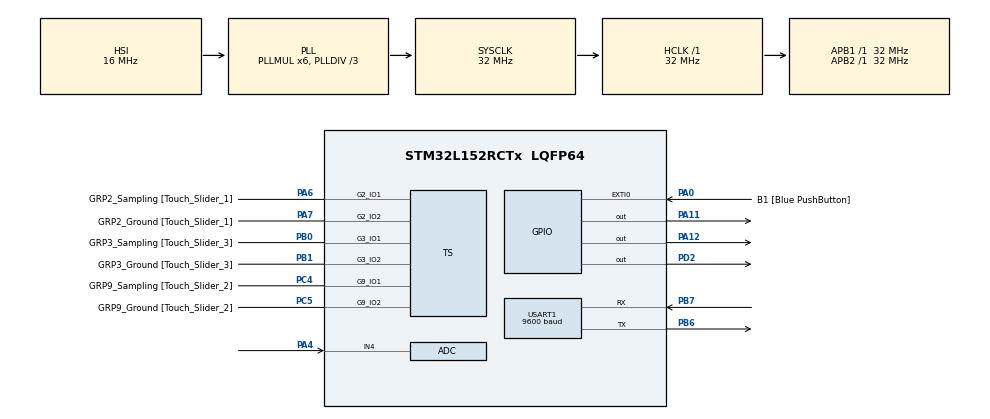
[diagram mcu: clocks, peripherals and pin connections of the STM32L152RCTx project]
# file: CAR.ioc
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ADC.Channel-1\#ChannelRegularConversion=ADC_CHANNEL_4
ADC.NbrOfConversionFlag=1
ADC.Rank-1\#ChannelRegularConversion=1
ADC.SamplingTime-1\#ChannelRegularConversion=ADC_SAMPLETIME_4CYCLES
Mcu.Family=STM32L1
Mcu.Name=STM32L152RCTx
Mcu.Package=LQFP64
NVIC.PriorityGroup=NVIC_PRIORITYGROUP_0
PA0-WKUP1.GPIO_Label=B1 [Blue PushButton]
PA0-WKUP1.GPIO_ModeDefaultEXTI=GPIO_MODE_EVT_RISING
PA0-WKUP1.GPIO_PuPd=GPIO_NOPULL
PA0-WKUP1.Signal=GPXTI0
PA1.Signal=S_TIM2_CH2
PA10.GPIO_Label=COM2 [GH08172T_COM2]
PA10.GPIO_Mode=GPIO_MODE_AF_PP
PA10.GPIO_PuPd=GPIO_NOPULL
PA10.GPIO_Speed=GPIO_SPEED_FREQ_LOW
PA10.Signal=LCD_COM2
PA11.Signal=GPIO_Output
PA12.Signal=GPIO_Output
PA13.GPIO_Label=SWDIO
PA13.Mode=Serial_Wire
PA13.Signal=SYS_JTMS-SWDIO
PA14.GPIO_Label=SWCLK
PA14.Mode=Serial_Wire
PA14.Signal=SYS_JTCK-SWCLK
PA15.GPIO_Label=SEG12 [GH08172T_SEG12]
PA15.GPIO_Mode=GPIO_MODE_AF_PP
PA15.GPIO_PuPd=GPIO_NOPULL
PA15.GPIO_Speed=GPIO_SPEED_FREQ_LOW
PA15.Signal=LCD_SEG17
PA2.GPIO_Label=SEG1 [GH08172T_SEG1]
PA2.GPIO_Mode=GPIO_MODE_AF_PP
PA2.GPIO_PuPd=GPIO_NOPULL
PA2.GPIO_Speed=GPIO_SPEED_FREQ_LOW
PA2.Signal=LCD_SEG1
PA3.GPIO_Label=SEG2 [GH08172T_SEG2]
PA3.GPIO_Mode=GPIO_MODE_AF_PP
PA3.GPIO_PuPd=GPIO_NOPULL
PA3.GPIO_Speed=GPIO_SPEED_FREQ_LOW
PA3.Signal=LCD_SEG2
PA4.Mode=IN4
PA4.Signal=ADC_IN4
PA5.Signal=S_TIM2_CH1_ETR
PA6.GPIO_Label=GRP2_Sampling [Touch_Slider_1]
PA6.Mode=G2_IO1-Sampling
PA6.Signal=TS_G2_IO1
PA7.GPIO_Label=GRP2_Ground [Touch_Slider_1]
PA7.Mode=G2_IO2-Channel
PA7.Signal=TS_G2_IO2
PA8.GPIO_Label=COM0 [GH08172T_COM0]
PA8.GPIO_Mode=GPIO_MODE_AF_PP
PA8.GPIO_PuPd=GPIO_NOPULL
PA8.GPIO_Speed=GPIO_SPEED_FREQ_LOW
PA8.Signal=LCD_COM0
PA9.GPIO_Label=COM1 [GH08172T_COM1]
PA9.GPIO_Mode=GPIO_MODE_AF_PP
PA9.GPIO_PuPd=GPIO_NOPULL
PA9.GPIO_Speed=GPIO_SPEED_FREQ_LOW
PA9.Signal=LCD_COM1
PB0.GPIO_Label=GRP3_Sampling [Touch_Slider_3]
PB0.Mode=G3_IO1-Sampling
PB0.Signal=TS_G3_IO1
PB1.GPIO_Label=GRP3_Ground [Touch_Slider_3]
PB1.Mode=G3_IO2-Channel
PB1.Signal=TS_G3_IO2
PB10.GPIO_Label=SEG6 [GH08172T_SEG6]
PB10.GPIO_Mode=GPIO_MODE_AF_PP
PB10.GPIO_PuPd=GPIO_NOPULL
PB10.GPIO_Speed=GPIO_SPEED_FREQ_LOW
PB10.Signal=LCD_SEG10
PB11.GPIO_Label=SEG7 [GH08172T_SEG7]
PB11.GPIO_Mode=GPIO_MODE_AF_PP
PB11.GPIO_PuPd=GPIO_NOPULL
PB11.GPIO_Speed=GPIO_SPEED_FREQ_LOW
PB11.Signal=LCD_SEG11
PB12.GPIO_Label=SEG8 [GH08172T_SEG8]
PB12.GPIO_Mode=GPIO_MODE_AF_PP
PB12.GPIO_PuPd=GPIO_NOPULL
PB12.GPIO_Speed=GPIO_SPEED_FREQ_LOW
PB12.Signal=LCD_SEG12
PB13.GPIO_Label=SEG9 [GH08172T_SEG9]
PB13.GPIO_Mode=GPIO_MODE_AF_PP
PB13.GPIO_PuPd=GPIO_NOPULL
PB13.GPIO_Speed=GPIO_SPEED_FREQ_LOW
PB13.Signal=LCD_SEG13
PB14.GPIO_Label=SEG10 [GH08172T_SEG10]
PB14.GPIO_Mode=GPIO_MODE_AF_PP
PB14.GPIO_PuPd=GPIO_NOPULL
PB14.GPIO_Speed=GPIO_SPEED_FREQ_LOW
PB14.Signal=LCD_SEG14
PB15.GPIO_Label=SEG11 [GH08172T_SEG11]
PB15.GPIO_Mode=GPIO_MODE_AF_PP
PB15.GPIO_PuPd=GPIO_NOPULL
PB15.GPIO_Speed=GPIO_SPEED_FREQ_LOW
PB15.Signal=LCD_SEG15
PB3.GPIO_Label=SEG3 [GH08172T_SEG3]
PB3.GPIO_Mode=GPIO_MODE_AF_PP
PB3.GPIO_PuPd=GPIO_NOPULL
PB3.GPIO_Speed=GPIO_SPEED_FREQ_LOW
PB3.Signal=LCD_SEG7
PB4.GPIO_Label=SEG4 [GH08172T_SEG4]
PB4.GPIO_Mode=GPIO_MODE_AF_PP
PB4.GPIO_PuPd=GPIO_NOPULL
PB4.GPIO_Speed=GPIO_SPEED_FREQ_LOW
PB4.Signal=LCD_SEG8
PB5.GPIO_Label=SEG5 [GH08172T_SEG5]
PB5.GPIO_Mode=GPIO_MODE_AF_PP
PB5.GPIO_PuPd=GPIO_NOPULL
PB5.GPIO_Speed=GPIO_SPEED_FREQ_LOW
PB5.Signal=LCD_SEG9
PB6.Mode=Asynchronous
PB6.Signal=USART1_TX
PB7.Mode=Asynchronous
PB7.Signal=USART1_RX
PB8.Signal=S_TIM4_CH3
PB9.Signal=S_TIM4_CH4
PC0.GPIO_Label=SEG14 [GH08172T_SEG14]
PC0.GPIO_Mode=GPIO_MODE_AF_PP
PC0.GPIO_PuPd=GPIO_NOPULL
PC0.GPIO_Speed=GPIO_SPEED_FREQ_LOW
PC0.Signal=LCD_SEG18
PC1.GPIO_Label=SEG15 [GH08172T_SEG15]
PC1.GPIO_Mode=GPIO_MODE_AF_PP
PC1.GPIO_PuPd=GPIO_NOPULL
PC1.GPIO_Speed=GPIO_SPEED_FREQ_LOW
PC1.Signal=LCD_SEG19
PC10.GPIO_Label=SEG22 [GH08172T_SEG22]
PC10.GPIO_Mode=GPIO_MODE_AF_PP
PC10.GPIO_PuPd=GPIO_NOPULL
PC10.GPIO_Speed=GPIO_SPEED_FREQ_LOW
PC10.Signal=LCD_SEG28
PC11.GPIO_Label=SEG23 [GH08172T_SEG23]
PC11.GPIO_Mode=GPIO_MODE_AF_PP
PC11.GPIO_PuPd=GPIO_NOPULL
PC11.GPIO_Speed=GPIO_SPEED_FREQ_LOW
PC11.Signal=LCD_SEG29
PC14-OSC32_IN.GPIO_Label=PC14-OSC32_IN
PC14-OSC32_IN.Mode=LSE-External-Oscillator
PC14-OSC32_IN.Signal=RCC_OSC32_IN
PC15-OSC32_OUT.GPIO_Label=PC15-OSC32_OUT
PC15-OSC32_OUT.Mode=LSE-External-Oscillator
PC15-OSC32_OUT.Signal=RCC_OSC32_OUT
PC2.GPIO_Label=SEG16 [GH08172T_SEG16]
PC2.GPIO_Mode=GPIO_MODE_AF_PP
PC2.GPIO_PuPd=GPIO_NOPULL
PC2.GPIO_Speed=GPIO_SPEED_FREQ_LOW
PC2.Signal=LCD_SEG20
PC3.GPIO_Label=SEG17 [GH08172T_SEG17]
PC3.GPIO_Mode=GPIO_MODE_AF_PP
PC3.GPIO_PuPd=GPIO_NOPULL
PC3.GPIO_Speed=GPIO_SPEED_FREQ_LOW
PC3.Signal=LCD_SEG21
PC4.GPIO_Label=GRP9_Sampling [Touch_Slider_2]
PC4.Mode=G9_IO1-Sampling
PC4.Signal=TS_G9_IO1
PC5.GPIO_Label=GRP9_Ground [Touch_Slider_2]
PC5.Mode=G9_IO2-Channel
PC5.Signal=TS_G9_IO2
PC6.GPIO_Label=SEG18 [GH08172T_SEG18]
PC6.GPIO_Mode=GPIO_MODE_AF_PP
PC6.GPIO_PuPd=GPIO_NOPULL
PC6.GPIO_Speed=GPIO_SPEED_FREQ_LOW
PC6.Signal=LCD_SEG24
PC7.GPIO_Label=SEG19 [GH08172T_SEG19]
PC7.GPIO_Mode=GPIO_MODE_AF_PP
PC7.GPIO_PuPd=GPIO_NOPULL
PC7.GPIO_Speed=GPIO_SPEED_FREQ_LOW
PC7.Signal=LCD_SEG25
PC8.GPIO_Label=SEG20 [GH08172T_SEG20]
PC8.GPIO_Mode=GPIO_MODE_AF_PP
PC8.GPIO_PuPd=GPIO_NOPULL
PC8.GPIO_Speed=GPIO_SPEED_FREQ_LOW
PC8.Signal=LCD_SEG26
PC9.GPIO_Label=SEG21 [GH08172T_SEG21]
PC9.GPIO_Mode=GPIO_MODE_AF_PP
PC9.GPIO_PuPd=GPIO_NOPULL
PC9.GPIO_Speed=GPIO_SPEED_FREQ_LOW
PC9.Signal=LCD_SEG27
PD2.Signal=GPIO_Output
ProjectManager.HeapSize=0x200
ProjectManager.StackSize=0x400
ProjectManager.TargetToolchain=STM32CubeIDE
RCC.48MHZClocksFreq_Value=48000000
RCC.AHBFreq_Value=32000000
RCC.APB1Freq_Value=32000000
RCC.APB1TimFreq_Value=32000000
RCC.APB2Freq_Value=32000000
RCC.APB2TimFreq_Value=32000000
RCC.HCLKFreq_Value=32000000
RCC.HSE_VALUE=8000000
RCC.HSI_VALUE=16000000
RCC.MSI_VALUE=2097000
RCC.PLLDIV=RCC_PLL_DIV3
RCC.PLLMUL=RCC_PLL_MUL6
RCC.RTCClockSelectionVirtual=RCC_RTCCLKSOURCE_LSE
RCC.SYSCLKFreq_VALUE=32000000
RCC.SYSCLKSource=RCC_SYSCLKSOURCE_PLLCLK
RCC.USBOutput=48000000
RCC.VCOOutputFreq_Value=96000000
SH.S_TIM2_CH1_ETR.0=TIM2_CH1
SH.S_TIM2_CH2.0=TIM2_CH2
SH.S_TIM4_CH3.0=TIM4_CH3
SH.S_TIM4_CH4.0=TIM4_CH4
USART1.BaudRate=9600
USART1.Mode=MODE_TX_RX
USART1.VirtualMode=VM_ASYNC
VP_TIM2_VS_ClockSourceINT.Mode=Internal
VP_TIM3_VS_ClockSourceINT.Mode=Internal
VP_TIM4_VS_ClockSourceINT.Mode=Internal
board=STM32L152C-DISCO

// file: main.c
/* USER CODE BEGIN Header */
/**
  ******************************************************************************
  * @file           : main.c
  * @brief          : Main program body
  ******************************************************************************
  * @attention
  *
  * Copyright (c) 2023 STMicroelectronics.
  * All rights reserved.
  *
  * This software is licensed under terms that can be found in the LICENSE file
  * in the root directory of this software component.
  * If no LICENSE file comes with this software, it is provided AS-IS.
  *
  ******************************************************************************
  */
/* USER CODE END Header */
#include "main.h"

ADC_HandleTypeDef hadc;

TIM_HandleTypeDef htim2;
TIM_HandleTypeDef htim3;
TIM_HandleTypeDef htim4;

UART_HandleTypeDef huart1;

/* USER CODE BEGIN PV */
enum states{EMITTING, RECEIVING}; //states for trigger
enum inter_sound{NO_INTER, PARPADEO_OFF, PARPADEO_ON}; //states for the buzzer

enum movement_direction{forwards, backwards, turn_left, turn_right, stop}; //states for directions of the car
enum obstacle_det{OBSTACLE_YES, OBSTACLE_TURN, OBSTACLE_NO}; //for the dynamics of the obstacles

char obstacle, pre_obstacle; //control states of dynamics
char intermitente, pre_intermitente; //control the states of buzzer
char state, pre_state; //control para el trigger
char direction; //var para controlar la dirección, cambia de valor con las funciones del coche

unsigned int pulse_duration = 0; //var que guarda la distancia que el echo recibe
char recv = 0; //var control para el tigger, solo para cambiar de uno a otro

//max value for the wheels
float left_velocityMax = 80;
float right_velocityMax = 80;

//ruedad controladas con estas variables, son con las que se trabajan
float left_velocityAc;
float right_velocityAc;

/* USER CODE END PV */

void SystemClock_Config(void);
static void MX_GPIO_Init(void);
static void MX_ADC_Init(void);
static void MX_TS_Init(void);
static void MX_TIM2_Init(void);
static void MX_TIM3_Init(void);
static void MX_TIM4_Init(void);
static void MX_USART1_UART_Init(void);

/* USER CODE BEGIN PFP */
void trigger_OFF();
void trigger_ON();
void buzzerSOUND();
void buzzerNO_SOUND();
void sound_on_inter();
void sound_off_inter();

void backards_right();
void forwards_right();
void backwards_left();
void forwards_left();

void moveForwards();
void moveBackwards();

void stop_right();
void stop_left();
void stop_movement();

void turn_LEFT();
void turn_RIGHT();

void new_velocity();
void set_direction(char new_direction);

/* USER CODE END PFP */

/* USER CODE BEGIN 0 */
////////////////////////////////////////////MOVEMENT FUNCTIONS//////////////////////

    //for velocity of the wheels, we use PWM
    //CH3, para PB8
    //CH4, para PB9

void forwards_right(){
  TIM4->CCR3 = right_velocityAc;     //CH3-PB8,                    CCR3: states the value to be reached by the CNT to obtain the match event
  GPIOA -> BSRR |= (1<<(11+16));  //poner un 0 en el PA11            states the velocity its taking in the PWM, la actual que tengamos en ese momento
}

void backwards_right(){
  TIM4->CCR3 = 100-right_velocityAc;   //CH3                       CCR3: the rest of the velocity remaining, the opossite we had before
  GPIOA -> BSRR |= (1<<11); //poner un 1 en PA11
}

void forwards_left(){
  TIM4->CCR4 = left_velocityAc;     //CH4-PB9,
  GPIOA -> BSRR |= (1<<(12+16));  //poner un 0 en el PA12
}

void backwards_left(){
  TIM4->CCR4 = 100-left_velocityAc;   //CH4
  GPIOA -> BSRR |= (1<<12); //poner un 1 en PA12
}

void stop_right(){
  TIM4->CCR3 = 0;     //CH3                                           CCR3: set to 0 to stop the movement
  GPIOA -> BSRR |= (1<<(11+16));  //poner un 0 en el PA11
}

void stop_left(){
  TIM4->CCR4 = 0;     //CH4
  GPIOA -> BSRR |= (1<<(12+16));  //poner un 0 en el PA12
}

void stop_movement(){
  stop_left();
  stop_right();
  direction=stop;
}

void moveForwards(){
  forwards_right();
  forwards_left();
  direction=forwards;
}

void moveBackwards(){
  backwards_right();
  backwards_left();
  direction=backwards;
}

//to turn, we need one wheel stops, and the other goes or different speeds//////////

void turn_LEFT(){   //para girar izq, paramos izq, y para atrás der
  backwards_right();
  stop_left();
  direction=turn_left; //var direction-la que controla donde se mete en el swtich depués --PROBAR SIN ESTO
}

void turn_RIGHT(){  //para girar der, paramos izq, y para atrás izq
  backwards_left();
  stop_right();
  direction=turn_right;
}

void set_direction(char new_direction){
  direction= new_direction;
  new_velocity();
}

void new_velocity(){
  switch(direction){
  case forwards:
    moveForwards();
    break;
  case backwards:
    moveBackwards();
    break;
  case turn_left:
    turn_LEFT();
    break;
  case turn_right:
    turn_RIGHT();
    break;
  case stop:
    stop_movement();
    break;
  }
}

////////////////////////////////////////////TRIGGER FUNCTIONS////////////////////////
void trigger_ON(){
  GPIOD->BSRR |= (1<<2);
}

void trigger_OFF(){
  GPIOD->BSRR |= (1<<2)<<16;
}

////////////////////////////////////////////BUZZER FUNCTIONS/////////////////////////
void buzzerNO_SOUND(){
  GPIOA->BSRR |= (1<<1);
}

void buzzerSOUND(){
  GPIOA->BSRR |= (1<<1)<<16;
}

void sound_on_inter(){
  if (intermitente == NO_INTER) //si el intermitente esta en el estado, no_inter, tiene que pasar a estar intermitente, no_inter es que activamos la intermitencia del buzzer
  {
    intermitente = PARPADEO_ON;         //se cambia a que sea intermitente
    TIM3->CNT = 0;                      //contador a 0, pq TOC
    TIM3->CCR1 = 1000;                  //valor al que tiene que llegar el CNT, la cuenta, tiempo que va a ser intermitente, el tiempo que va a estar sonando y el que no
    TIM3->CR1 |= (1 << 0);              //indica el counter enable, or disable, its = 1, so counter enable
  }
}

void sound_off_inter(){
  intermitente = NO_INTER; //estado en no intermitente y no tiene que hacer nada
  TIM3->CR1 = 0; //contador 0 pq nada que contar
}

//TIM2//////////////////////////////////////////////////////////////////////////////

    //TIM2CH1 as TIC echo
    //TIM2CH2 counting 10us
    //TIM2CH3 para el tiempo que para y el tiempo que gira el coche

void TIM2_IRQHandler(void)
{
  if (((TIM2->SR & (1 << 1)) != 0)) //si la flag del channel1 esta activada, event is ocurring
  {
    if (recv == 0) //si no estoy recibiendo nada, recv es variable de control solo para esto
    {
      //si no recibo nada el pulso va a estar en falling

      recv = 1; //cambio el estado para que pase al else, para que cambie de estado
      TIM2->CNT = 0; //contador a 0, para la cuenta TI: measuure time lapse between 2 events
      TIM2->CCER = 0X0003; // ponemos el pulso a falling, pq si no esta recibiendo el pulso es bajo

    }
    else  //es cuando recv=1, recibimos pulso(señal)
    {
      recv = 0;                    //para cambiar de estado, para que vaya al if
      TIM2->CCER = 0X0001;         //rising el pulso, si recibo algo, pulso alto, empiezo a contar en el CCR1, para saber cuanto esta durando el pulso arriba y medir dst
      pulse_duration = TIM2->CCR1; //CCR1, store el valor cuando un evento externo ocurre, en este caso, el rising edge, guardamos esto en pulse_duration
                                   //para saber la distancia que hemos medido,

      ADC1->CR2 |= 0X40000000;  //launch adc
                                //start the conversion
    }

    TIM2->SR &= ~(1 << 1); //Clear channel 1 flag

  }

  else if ((TIM2->SR & (1 << 2) != 0) && (TIM2->SR & (1 << 3)) != 0) //timer dos para el toc del trigger, en el channel 2
  {

    if (state == EMITTING) //si estamos emitiendo el pulso lo queremos leer
    {
      state = RECEIVING; //cambiamos el estado para despues recibir
      obstacle = OBSTACLE_YES; //Decimos que hay objeto, para parar el coche cuando se encuentra un objeto
      TIM2->CCR2 += 2500; //25ms, time reading the distance, TOC, cuenta atrás, CNT cuenta hasta que llega a ese valor
      TIM2->CCR3 += 100000000; //0,5S, TIME STOP, tiempo parado del coche, cuando llega a ese valor, avanza

    }
    else if (state == RECEIVING) //Si estamos recibiendo
    {
      state = EMITTING; //cambiamos el estado para despues pasar a recibir
      obstacle = OBSTACLE_TURN; //despues de parar el coche queremos que gire
      TIM2->CCR2 += 10; //10us, tiempo recibiendo, TOC, recibe hasta que el CNT llega a ese valor
      TIM2->CCR3 += 1000000;  //time turning, el coche gira hasta que llega a este valor

    }
    else
    {
      obstacle = OBSTACLE_NO; // no hay obstaculo, seguimos normal

      //TIM2->CCR3 += 1000000;//10us
    }

    TIM2->SR &= ~(1 << 2); //clear the flag
    TIM2->SR &= ~(1 << 3); //clear the flag
  }

}

//TIM3///////////////////////////////////////////////////////////////////////////////

    //TIM3-ch1 buzzer intermitente

void TIM3_IRQHandler(void) //RUTINA DE INTERRUPCION DEL BUZZER
{
  if ((TIM3->SR & (1 << 1)) != 0) //comprobamos que flag del ch1 esta activada
  {
    if (intermitente == PARPADEO_OFF) //si esta apagada
    {
      intermitente = PARPADEO_ON; //la encendemos para cambiar el estado
    }
    else if (intermitente == PARPADEO_ON) //si esta encendida
    {
      intermitente = PARPADEO_OFF; //la apagamos para cambiar el estado
    }

    TIM3->CCR1 += 1000; //tiempo que suena, valor al que tiene que llegar el CNT, la cuenta, la incrementamos
    TIM3->SR &= ~(1 << 1); //clear the flag
  }

}

//ADC//////////////////////////////////////////////////////////////////////////////

void ADC1_IRQHandler(void){ //rutina de interrupción
  if((ADC1->SR & (1<<1)) != 0){ //ver si hay un 1 en el pin del EOC, que lo hay nos indica que la conversion esta completa
    //asignamos valor a la velocidad maxima de la rueda, el 4095 es por la posicion del potenciometro, el +50 para que siempre tenga velocidad
    left_velocityMax = (ADC1->DR) * (99-50)/(4095)+50;
    right_velocityMax = (ADC1->DR) * (99-50)/(4095)+50;       //el ADC1->DR, valor que cambiara la velocidad, adc_value que teniamos antes
  }
  ADC1->DR = 0;
}

/* USER CODE END 0 */

int main(void)
{

  /* MCU Configuration--------------------------------------------------------*/

  /* Reset of all peripherals, Initializes the Flash interface and the Systick. */
  HAL_Init();

  /* Configure the system clock */
  SystemClock_Config();

  /* Initialize all configured peripherals */
  MX_GPIO_Init();
  MX_ADC_Init();
  MX_TS_Init();
  MX_TIM2_Init();
  MX_TIM3_Init();
  MX_TIM4_Init();
  MX_USART1_UART_Init();
  /* USER CODE BEGIN 2 */

  //iniciar los pins /////////////////////////////////////////////////////////////////////////////////////

   //PB8- as alternate function
   GPIOB->MODER |= (1 << (8 * 2 + 1)); //coloco un 1
   GPIOB->MODER &= ~(1 << (8 * 2)); // coloco un 0

   //PA11- as digital output
   GPIOA->MODER &= ~(1 << (11 * 2 + 1)); //coloco un 0
   GPIOA->MODER |= (1 << (11 * 2)); // coloco un 1

   //PB9- as alternate function
   GPIOB->MODER |= (1 << (9 * 2 + 1)); //coloco un 1
   GPIOB->MODER &= ~(1 << (9 * 2)); // coloco un 0

   //PA12- as digital output
   GPIOA->MODER &= ~(1 << (12 * 2 + 1)); //coloco un 0
   GPIOA->MODER |= (1 << (12 * 2)); // coloco un 1

   //AFR[1]para PB8 y PB9, 0001
   GPIOB->AFR[1] = 0X00000022;

   //buffer PA1 as DO(01)
   GPIOA->MODER &= ~(1 << (1 * 2 + 1));  //coloco un 0
   GPIOA->MODER |= (1 << (1 * 2));   //coloco un 1

   //GPIOA->AFR[0] |=  (0x01 << 1*4);
   //GPIOA->AFR[0] &= ~(0x0E << 1*4);
   //GPIOA -> AFR[0] |= (0x10 << (1*4));     //AFR[0] to associate PA1 with AF1

   //TRIGGER PD2 as digital output(01)
   GPIOD->MODER &= ~(1 << (2 * 2 + 1)); //coloco un 0
   GPIOD->MODER |= (1 << (2 * 2));    //coloco un 1

   //ECHO PA5 as AF(10): we use TIM2_CH1
   GPIOA->MODER |= (1 << (5 * 2 + 1));    //coloco un 1
   GPIOA->MODER &= ~(1 << (5 * 2));    //coloco un 0

   GPIOA->AFR[0] |= (0x01 << 5 * 4);
   GPIOA->AFR[0] &= ~(0x0E << 5 * 4);

   //potentiometer PA4 - as analog mode (11)
   GPIOA->MODER |= (1 << (4 * 2 + 1));
   GPIOA->MODER |= (1 << (4 * 2));

 //TIM4 -CH3, para PB8 -CH4, para PB9//////////////PWM//////////////////////////////

   //PWM - velocity

     TIM4->CR1 = 0x0000;   //ARPE=0 -> no PWM, it is TOC
                           //CEN = 0; counter OFF
     TIM4->CR2 = 0x0000; //Always 0 in this course
     TIM4->SMCR = 0x0000;  //Always 0 in this course

     //counter behaviour setting: PSC, CNT, ARR and CCRx
     TIM4->PSC = 31;   //Tu = 1us
     TIM4->CNT = 0x0000;   //intialized the counter to 0, tendra que llegar a 10micros
     TIM4->ARR = 100-1;   //Recommended value
     //states the value to be recovered by CNT to obtain the match event
     TIM4->CCR3 = left_velocityMax;    //CH3 - PB8 - compare register, value we will compare
     TIM4->CCR4 = right_velocityMax;     //CH4 - PB9

     TIM4->DCR = 0; // no nos hace falta la interrupción
     TIM4->DIER = 0x0000;

     //CCM2-para ambos canales 3 y 4
     TIM4->CCMR2 = 0;
     TIM4->CCMR2 |= (1<<3);  //PE
     TIM4->CCMR2 |= (1<<6);  //1
     TIM4->CCMR2 |= (1<<5);  //1
     TIM4->CCMR2 &= ~(1<<4); //0

     TIM4->CCMR2 |= (1<<11); //PE
     TIM4->CCMR2 |= (1<<14); //1
     TIM4->CCMR2 |= (1<<13); //1
     TIM4->CCMR2 &= ~(1<<12);  //0

     TIM4->CCER |= (1<<8);   //CC3E ch3
     TIM4->CCER |= (1<<12);    //CC4E ch4

     TIM4->CR1 |= (1<<7);    //HW
     TIM4->EGR |= (1<<0);    //UG
     TIM4->CR1 |= (1<<0);    //ON
     TIM4->SR = 0;       //FLAG

     moveForwards();

 //TIM2 //////////////////////////////////////////////////////////////////////////////

     //TIM2CH1 as TIC echo
     //TIM2CH2 counting 10us
     //TIM2CH3 para el tiempo que para y el tiempo que gira el coche

     TIM2->CR1 = 0x0000;
     TIM2->CR2 = 0x0000;
     TIM2->SMCR = 0x0000;

     TIM2->PSC = 31;   //Tu= 1us
     TIM2->CNT = 0x0000; //Initialized counter to 0
     TIM2->ARR = 0xFFFF; //Recommended value

     ////IRQ selection
     TIM2->DIER |= 0x0002; //IRQ enabled for CH1

     //Counter output mode
     TIM2->CCMR1 = 0x0001;   ///OCyM = 000 (always in TIC)
                             // OCyPE = 0 (always in TIC)
                             //OC3M = 011(toggle)
     TIM2->CCER = 0x0001;    //CC1NP:CC1P = 00 (active rising edge)
                             //CC1E = 1
                             //CC2E = 1(enables hardware output)

     //contar 10us en el CH2
     TIM2->CCR2 = 10;
     TIM2->DIER |= 0x0004;  // interrupción del CH2

     //contar 10us en el ch3
     TIM2->CCR3 = 10;
     TIM2->DIER |= 0x0008; //interruocion del CH3

     //Enabling the counter
     TIM2->CR1 |= 0x0001;  //CEN = 1 (Counter Enable) Starting CNT
     TIM2->EGR |= 0x0001;  // UG = 1 -> Generate update event
     TIM2->SR  = 0;    //Clear all flags

     // Enabling IRQ source for TIM2 in NVIC (position 28) interrupcion
     NVIC->ISER[0] |= (1 << 28);

 //TIM3 PARA EL BUZZER, medio segundo del pitido intermitente, CH1///////////////////////

     TIM3->CR1 = 0x0000;
     TIM3->CR2 = 0x0000;
     TIM3->SMCR = 0x0000;

     TIM3->CNT = 0;
     TIM3->PSC = 16000-1;
     TIM3->ARR = 0XFFFF; //para PWM, no tiene que estar en 0xFFFF
     TIM3->CCR1 = 1000;

     TIM3->DIER |= (1<<1);
     NVIC->ISER[0] |= (1<<29);

     TIM3->CCMR1 = 0x0000;
     TIM3->CCER = 0x0000;

     //Enabling the counter
     TIM3->CR1 |= 0x0001;  //CEN = 1 (Counter Enable) Starting CNT
     TIM3->EGR |= 0x0000;  // UG = 1 -> Generate update event
     TIM3->SR  = 0;    //Clear all flags

 //ADC config////////////////////////////////////////////////////////////////////////

     ADC1 -> CR2 &= ~(0x000000001); //ADC off, only on if ADON 1
     ADC1 -> CR1 = 0X000000020; //CR1, conversor apagado,  encendemos la interrupcion

     ADC1->CR2 = 0x00000400;   // EOCS = 1 (EOC to be activated after each conversion)
                             // DELS = 000 (no delay)
                             // CONT = 0 (single conversion)

     ADC1 -> SQR1 = 0X00000000; //un canal, SI SQR1 = 0 -> only one channel is going to be used
     ADC1 -> SQR5 = 0x00000004; //5 least significant bits of SQR5, shall state the channel to be converted, IN4

     ADC1->CR2 |= 0x00000001; //start the conversion

     //while((ADC1->SR & 0X0040) == 0); //esperar a q este disponible
     //ADC1->CR2 |= 0x40000000; //if ADONS = 1, start conversion (SWSTART = 1)

    NVIC->ISER[0] |= (1<<18); //interrupt, position 18 in NVIC, ADC1

  /* USER CODE END 2 */

  /* Infinite loop */
  /* USER CODE BEGIN WHILE */

    //iniciar las variables con un estado "incial", para que empiece con un estado en concreto y vaya saltando de uno a otro

    buzzerNO_SOUND();

    state = EMITTING; //empiezo el trigger emitiendo
    pre_state = state;

    intermitente = NO_INTER; //empiezo el buzzer en no_inter
    pre_intermitente = intermitente;

    obstacle = OBSTACLE_YES; //empezamos diciendo que hay obstaculo
    pre_obstacle = obstacle;

    //iniciar la velocidad actual de cada rueda, a la max, determinada en cada parte por pwm o por el potenciometro con el adc value
    left_velocityAc = left_velocityMax;
    right_velocityAc = right_velocityMax;

  while (1)
  {

    //FOR TRIGGER, state de recv o emit,coge uno u otro y se mete en su parte del switch correspondiente

        if (pre_state != state) //si no son iguales
        {
          pre_state = state; //var para cambiar al contrario
          switch (state)
          {
          case EMITTING:
            trigger_ON();
            break;
          case RECEIVING:
            trigger_OFF();
            break;
          }
        }

    //FOR BUZZER INTERMITENTE

        //si los estados no son iguaes y el intermitente no esta en no_inter (no_inter es que este en buzzer inter), entonces el buzzer suena de forma continua
        if (pre_intermitente != intermitente && intermitente != NO_INTER)
        {
          pre_intermitente = intermitente; //para cambiar el estado de uno a otro
          if (intermitente == PARPADEO_OFF)
          {
            //esta al reves, deberia ser buzzer_SOUND(), pero como lo tenemos iniciado al reves arriba, en el no_sound, le damos =1, aqui tiene que ir el que suena
            //pq si el parpadeo_off -> es que el buzzer suena de forma continua, lo que tendria que sonar continuo que es dondele uno directamente al BSRR
            //Esta funcion es la que le da el uno
            buzzerNO_SOUND();
          }
          else //Este else se mete en que el buzzer empieza a pitar en parpadeo_on, asi que lo controlamos con timers y la funcion del buzzer = 0, para q no suene
          {
            //esta es la que le esta dando 0, para que no suene
            buzzerSOUND();
          }
        }

    //DYNAMICS WITH OBSTACLES and TURNS/////////////////////////////////////////////////////////////////////

        //The distante, for bigger than 20com its going to be 40, because the pulse goes and come, so 0,4m
        //we have to compare the pulse_duration with the t=0,4/speedOfSound;
        //dist for 20 = 0.4 / 0.00034 = 1176;
        //dist for 10 = 0.2 / 0.00034 = 589;

    if (pulse_duration < 589) //menos de 10
    {
      //menos de 10, buzzer continuo
      sound_off_inter();
      buzzerSOUND();

      if (pre_obstacle != obstacle)
      {
        pre_obstacle = obstacle; //para cambiar de uno a otro
        //switch para cambiar el movimiento del coche dependiendo de los obstaculos
        switch (obstacle)
        {
        case OBSTACLE_YES:
          set_direction(stop);
          break;
        case OBSTACLE_TURN:
          set_direction(turn_right);
          break;
        case OBSTACLE_NO:
          set_direction(forwards);
          break;
        }
      }

    }
    else
        {
          if (pulse_duration < 1176)  //entre 10 y 20
          {
            sound_on_inter();
            left_velocityAc = left_velocityMax/2;    //pwm, control this
            right_velocityAc = right_velocityMax/2;

            set_direction(forwards); //prueba para ver si gira

          }

          else
          {
            sound_off_inter();
            buzzerNO_SOUND();
            left_velocityAc = left_velocityMax;
            right_velocityAc = right_velocityMax;
            set_direction(forwards);

          }
        }

    /* USER CODE END WHILE */

  }
}

void SystemClock_Config(void)
{
  RCC_OscInitTypeDef RCC_OscInitStruct = {0};
  RCC_ClkInitTypeDef RCC_ClkInitStruct = {0};

  /** Configure the main internal regulator output voltage
  */
  __HAL_PWR_VOLTAGESCALING_CONFIG(PWR_REGULATOR_VOLTAGE_SCALE1);

  /** Initializes the RCC Oscillators according to the specified parameters
  * in the RCC_OscInitTypeDef structure.
  */
  RCC_OscInitStruct.OscillatorType = RCC_OSCILLATORTYPE_HSI;
  RCC_OscInitStruct.HSIState = RCC_HSI_ON;
  RCC_OscInitStruct.HSICalibrationValue = RCC_HSICALIBRATION_DEFAULT;
  RCC_OscInitStruct.PLL.PLLState = RCC_PLL_ON;
  RCC_OscInitStruct.PLL.PLLSource = RCC_PLLSOURCE_HSI;
  RCC_OscInitStruct.PLL.PLLMUL = RCC_PLL_MUL6;
  RCC_OscInitStruct.PLL.PLLDIV = RCC_PLL_DIV3;
  if (HAL_RCC_OscConfig(&RCC_OscInitStruct) != HAL_OK)
  {
    Error_Handler();
  }

  /** Initializes the CPU, AHB and APB buses clocks
  */
  RCC_ClkInitStruct.ClockType = RCC_CLOCKTYPE_HCLK|RCC_CLOCKTYPE_SYSCLK
                              |RCC_CLOCKTYPE_PCLK1|RCC_CLOCKTYPE_PCLK2;
  RCC_ClkInitStruct.SYSCLKSource = RCC_SYSCLKSOURCE_PLLCLK;
  RCC_ClkInitStruct.AHBCLKDivider = RCC_SYSCLK_DIV1;
  RCC_ClkInitStruct.APB1CLKDivider = RCC_HCLK_DIV1;
  RCC_ClkInitStruct.APB2CLKDivider = RCC_HCLK_DIV1;

  if (HAL_RCC_ClockConfig(&RCC_ClkInitStruct, FLASH_LATENCY_1) != HAL_OK)
  {
    Error_Handler();
  }
}

static void MX_ADC_Init(void)
{

  ADC_ChannelConfTypeDef sConfig = {0};

  /** Configure the global features of the ADC (Clock, Resolution, Data Alignment and number of conversion)
  */
  hadc.Instance = ADC1;
  hadc.Init.ClockPrescaler = ADC_CLOCK_ASYNC_DIV1;
  hadc.Init.Resolution = ADC_RESOLUTION_12B;
  hadc.Init.DataAlign = ADC_DATAALIGN_RIGHT;
  hadc.Init.ScanConvMode = ADC_SCAN_DISABLE;
  hadc.Init.EOCSelection = ADC_EOC_SEQ_CONV;
  hadc.Init.LowPowerAutoWait = ADC_AUTOWAIT_DISABLE;
  hadc.Init.LowPowerAutoPowerOff = ADC_AUTOPOWEROFF_DISABLE;
  hadc.Init.ChannelsBank = ADC_CHANNELS_BANK_A;
  hadc.Init.ContinuousConvMode = DISABLE;
  hadc.Init.NbrOfConversion = 1;
  hadc.Init.DiscontinuousConvMode = DISABLE;
  hadc.Init.ExternalTrigConv = ADC_SOFTWARE_START;
  hadc.Init.ExternalTrigConvEdge = ADC_EXTERNALTRIGCONVEDGE_NONE;
  hadc.Init.DMAContinuousRequests = DISABLE;
  if (HAL_ADC_Init(&hadc) != HAL_OK)
  {
    Error_Handler();
  }

  /** Configure for the selected ADC regular channel its corresponding rank in the sequencer and its sample time.
  */
  sConfig.Channel = ADC_CHANNEL_4;
  sConfig.Rank = ADC_REGULAR_RANK_1;
  sConfig.SamplingTime = ADC_SAMPLETIME_4CYCLES;
  if (HAL_ADC_ConfigChannel(&hadc, &sConfig) != HAL_OK)
  {
    Error_Handler();
  }

}

static void MX_TIM2_Init(void)
{

  TIM_ClockConfigTypeDef sClockSourceConfig = {0};
  TIM_MasterConfigTypeDef sMasterConfig = {0};

  htim2.Instance = TIM2;
  htim2.Init.Prescaler = 0;
  htim2.Init.CounterMode = TIM_COUNTERMODE_UP;
  htim2.Init.Period = 65535;
  htim2.Init.ClockDivision = TIM_CLOCKDIVISION_DIV1;
  htim2.Init.AutoReloadPreload = TIM_AUTORELOAD_PRELOAD_DISABLE;
  if (HAL_TIM_Base_Init(&htim2) != HAL_OK)
  {
    Error_Handler();
  }
  sClockSourceConfig.ClockSource = TIM_CLOCKSOURCE_INTERNAL;
  if (HAL_TIM_ConfigClockSource(&htim2, &sClockSourceConfig) != HAL_OK)
  {
    Error_Handler();
  }
  sMasterConfig.MasterOutputTrigger = TIM_TRGO_RESET;
  sMasterConfig.MasterSlaveMode = TIM_MASTERSLAVEMODE_DISABLE;
  if (HAL_TIMEx_MasterConfigSynchronization(&htim2, &sMasterConfig) != HAL_OK)
  {
    Error_Handler();
  }

}

static void MX_TIM3_Init(void)
{

  TIM_ClockConfigTypeDef sClockSourceConfig = {0};
  TIM_MasterConfigTypeDef sMasterConfig = {0};

  htim3.Instance = TIM3;
  htim3.Init.Prescaler = 0;
  htim3.Init.CounterMode = TIM_COUNTERMODE_UP;
  htim3.Init.Period = 65535;
  htim3.Init.ClockDivision = TIM_CLOCKDIVISION_DIV1;
  htim3.Init.AutoReloadPreload = TIM_AUTORELOAD_PRELOAD_DISABLE;
  if (HAL_TIM_Base_Init(&htim3) != HAL_OK)
  {
    Error_Handler();
  }
  sClockSourceConfig.ClockSource = TIM_CLOCKSOURCE_INTERNAL;
  if (HAL_TIM_ConfigClockSource(&htim3, &sClockSourceConfig) != HAL_OK)
  {
    Error_Handler();
  }
  sMasterConfig.MasterOutputTrigger = TIM_TRGO_RESET;
  sMasterConfig.MasterSlaveMode = TIM_MASTERSLAVEMODE_DISABLE;
  if (HAL_TIMEx_MasterConfigSynchronization(&htim3, &sMasterConfig) != HAL_OK)
  {
    Error_Handler();
  }

}

static void MX_TIM4_Init(void)
{

  TIM_ClockConfigTypeDef sClockSourceConfig = {0};
  TIM_MasterConfigTypeDef sMasterConfig = {0};

  htim4.Instance = TIM4;
  htim4.Init.Prescaler = 0;
  htim4.Init.CounterMode = TIM_COUNTERMODE_UP;
  htim4.Init.Period = 65535;
  htim4.Init.ClockDivision = TIM_CLOCKDIVISION_DIV1;
  htim4.Init.AutoReloadPreload = TIM_AUTORELOAD_PRELOAD_DISABLE;
  if (HAL_TIM_Base_Init(&htim4) != HAL_OK)
  {
    Error_Handler();
  }
  sClockSourceConfig.ClockSource = TIM_CLOCKSOURCE_INTERNAL;
  if (HAL_TIM_ConfigClockSource(&htim4, &sClockSourceConfig) != HAL_OK)
  {
    Error_Handler();
  }
  sMasterConfig.MasterOutputTrigger = TIM_TRGO_RESET;
  sMasterConfig.MasterSlaveMode = TIM_MASTERSLAVEMODE_DISABLE;
  if (HAL_TIMEx_MasterConfigSynchronization(&htim4, &sMasterConfig) != HAL_OK)
  {
    Error_Handler();
  }

}

static void MX_TS_Init(void)
{

}

static void MX_USART1_UART_Init(void)
{

  huart1.Instance = USART1;
  huart1.Init.BaudRate = 9600;
  huart1.Init.WordLength = UART_WORDLENGTH_8B;
  huart1.Init.StopBits = UART_STOPBITS_1;
  huart1.Init.Parity = UART_PARITY_NONE;
  huart1.Init.Mode = UART_MODE_TX_RX;
  huart1.Init.HwFlowCtl = UART_HWCONTROL_NONE;
  huart1.Init.OverSampling = UART_OVERSAMPLING_16;
  if (HAL_UART_Init(&huart1) != HAL_OK)
  {
    Error_Handler();
  }

}

static void MX_GPIO_Init(void)
{
  GPIO_InitTypeDef GPIO_InitStruct = {0};

  /* GPIO Ports Clock Enable */
  __HAL_RCC_GPIOC_CLK_ENABLE();
  __HAL_RCC_GPIOA_CLK_ENABLE();
  __HAL_RCC_GPIOB_CLK_ENABLE();
  __HAL_RCC_GPIOD_CLK_ENABLE();

  /*Configure GPIO pin Output Level */
  HAL_GPIO_WritePin(GPIOA, GPIO_PIN_11|GPIO_PIN_12, GPIO_PIN_RESET);

  /*Configure GPIO pin Output Level */
  HAL_GPIO_WritePin(GPIOD, GPIO_PIN_2, GPIO_PIN_RESET);

  /*Configure GPIO pins : SEG14_Pin SEG15_Pin SEG16_Pin SEG17_Pin
                           SEG18_Pin SEG19_Pin SEG20_Pin SEG21_Pin
                           SEG22_Pin SEG23_Pin */
  GPIO_InitStruct.Pin = SEG14_Pin|SEG15_Pin|SEG16_Pin|SEG17_Pin
                          |SEG18_Pin|SEG19_Pin|SEG20_Pin|SEG21_Pin
                          |SEG22_Pin|SEG23_Pin;
  GPIO_InitStruct.Mode = GPIO_MODE_AF_PP;
  GPIO_InitStruct.Pull = GPIO_NOPULL;
  GPIO_InitStruct.Speed = GPIO_SPEED_FREQ_LOW;
  GPIO_InitStruct.Alternate = GPIO_AF11_LCD;
  HAL_GPIO_Init(GPIOC, &GPIO_InitStruct);

  /*Configure GPIO pin : B1_Pin */
  GPIO_InitStruct.Pin = B1_Pin;
  GPIO_InitStruct.Mode = GPIO_MODE_EVT_RISING;
  GPIO_InitStruct.Pull = GPIO_NOPULL;
  HAL_GPIO_Init(B1_GPIO_Port, &GPIO_InitStruct);

  /*Configure GPIO pins : SEG1_Pin SEG2_Pin COM0_Pin COM1_Pin
                           COM2_Pin SEG12_Pin */
  GPIO_InitStruct.Pin = SEG1_Pin|SEG2_Pin|COM0_Pin|COM1_Pin
                          |COM2_Pin|SEG12_Pin;
  GPIO_InitStruct.Mode = GPIO_MODE_AF_PP;
  GPIO_InitStruct.Pull = GPIO_NOPULL;
  GPIO_InitStruct.Speed = GPIO_SPEED_FREQ_LOW;
  GPIO_InitStruct.Alternate = GPIO_AF11_LCD;
  HAL_GPIO_Init(GPIOA, &GPIO_InitStruct);

  /*Configure GPIO pins : SEG6_Pin SEG7_Pin SEG8_Pin SEG9_Pin
                           SEG10_Pin SEG11_Pin SEG3_Pin SEG4_Pin
                           SEG5_Pin */
  GPIO_InitStruct.Pin = SEG6_Pin|SEG7_Pin|SEG8_Pin|SEG9_Pin
                          |SEG10_Pin|SEG11_Pin|SEG3_Pin|SEG4_Pin
                          |SEG5_Pin;
  GPIO_InitStruct.Mode = GPIO_MODE_AF_PP;
  GPIO_InitStruct.Pull = GPIO_NOPULL;
  GPIO_InitStruct.Speed = GPIO_SPEED_FREQ_LOW;
  GPIO_InitStruct.Alternate = GPIO_AF11_LCD;
  HAL_GPIO_Init(GPIOB, &GPIO_InitStruct);

  /*Configure GPIO pins : PA11 PA12 */
  GPIO_InitStruct.Pin = GPIO_PIN_11|GPIO_PIN_12;
  GPIO_InitStruct.Mode = GPIO_MODE_OUTPUT_PP;
  GPIO_InitStruct.Pull = GPIO_NOPULL;
  GPIO_InitStruct.Speed = GPIO_SPEED_FREQ_LOW;
  HAL_GPIO_Init(GPIOA, &GPIO_InitStruct);

  /*Configure GPIO pin : PD2 */
  GPIO_InitStruct.Pin = GPIO_PIN_2;
  GPIO_InitStruct.Mode = GPIO_MODE_OUTPUT_PP;
  GPIO_InitStruct.Pull = GPIO_NOPULL;
  GPIO_InitStruct.Speed = GPIO_SPEED_FREQ_LOW;
  HAL_GPIO_Init(GPIOD, &GPIO_InitStruct);

}

void Error_Handler(void)
{
  __disable_irq();
  while (1)
  {
  }
}
